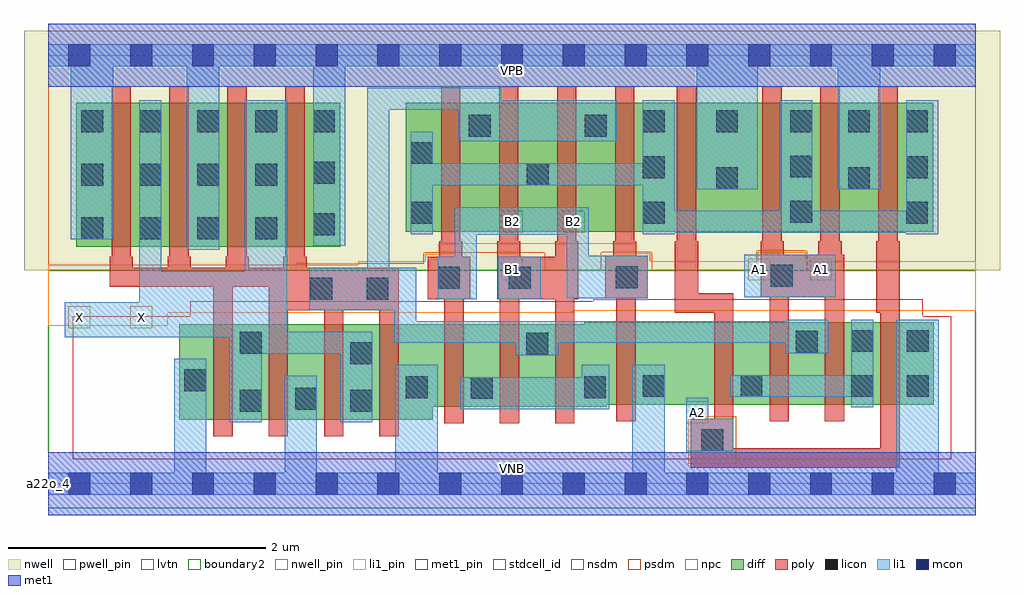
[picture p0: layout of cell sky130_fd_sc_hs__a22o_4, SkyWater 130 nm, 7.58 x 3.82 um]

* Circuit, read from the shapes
.subckt sky130_fd_sc_hs__a22o_4 A1 A2 B1 B2 VGND VNB VPB VPWR X
XM1 X n1 VGND VNB sky130_fd_pr__nfet_01v8_lvt w=0.74 l=0.15 m=4
XM2 n2 B2 VGND VNB sky130_fd_pr__nfet_01v8_lvt w=0.64 l=0.15 m=2
XM3 n1 B1 n2 VNB sky130_fd_pr__nfet_01v8_lvt w=0.64 l=0.15 m=2
XM4 n3 A2 VGND VNB sky130_fd_pr__nfet_01v8_lvt w=0.64 l=0.15 m=2
XM5 n1 A1 n3 VNB sky130_fd_pr__nfet_01v8_lvt w=0.64 l=0.15 m=2
XM6 X n1 VPWR VPB sky130_fd_pr__pfet_01v8 w=1.12 l=0.15 m=4
XM7 n1 B2 n4 VPB sky130_fd_pr__pfet_01v8 w=1 l=0.15 m=2
XM8 n4 B1 n1 VPB sky130_fd_pr__pfet_01v8 w=1 l=0.15 m=2
XM9 VPWR A2 n4 VPB sky130_fd_pr__pfet_01v8 w=1 l=0.15 m=2
XM10 n4 A1 VPWR VPB sky130_fd_pr__pfet_01v8 w=1 l=0.15 m=2
.ends

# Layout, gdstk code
import gdstk
lib = gdstk.Library(unit=1e-6, precision=1e-09)
def R(c, l, rs):  # rectangles x0, y0, x1, y1
    for r in rs: c.add(gdstk.rectangle(r[:2], r[2:], *l))
def A(c, l, x, y, w, h, nx, ny, dx, dy):  # array of equal rectangles
    R(c, l, [(x+i*dx, y+j*dy, x+i*dx+w, y+j*dy+h) for i in range(nx) for j in range(ny)])
def P(c, l, *ps):  # polygons
    for p in ps: c.add(gdstk.Polygon(p, *l))
nwell_pin = (64, 16)
nwell = (64, 20)
diff = (65, 20)
poly = (66, 20)
licon = (66, 44)
li1_pin = (67, 16)
li1 = (67, 20)
mcon = (67, 44)
met1_pin = (68, 16)
met1 = (68, 20)
stdcell_id = (81, 4)
nsdm = (93, 44)
psdm = (94, 20)
npc = (95, 20)
pwell_pin = (122, 16)
lvtn = (125, 44)
boundary2 = (236, 0)

sky130_fd_sc_hs__a22o_4 = lib.new_cell('sky130_fd_sc_hs__a22o_4')
R(sky130_fd_sc_hs__a22o_4, nwell_pin, [(0,3.085,7.2,3.33)])
R(sky130_fd_sc_hs__a22o_4, nwell, [(-0.19,1.66,7.39,3.52)])
R(sky130_fd_sc_hs__a22o_4, diff, [(0.215,1.84,2.265,2.96), (2.775,1.96,6.87,2.96)])
P(sky130_fd_sc_hs__a22o_4, diff, [(6.875,1.255),(4.16,1.255),(4.16,1.24),(1.015,1.24),(1.015,0.5),(2.985,0.5),(2.985,0.6),(4.335,0.6),(4.335,0.615),(6.875,0.615)])
P(sky130_fd_sc_hs__a22o_4, poly, [(6.61,1.885),(6.595,1.885),(6.595,3.09),(6.445,3.09),(6.445,1.885),(6.43,1.885),(6.43,1.33),(6.46,1.33),(6.46,0.275),(5.32,0.275),(5.32,1.48),(5.045,1.48),(5.045,1.885),(5.03,1.885),(5.03,3.09),(4.88,3.09),(4.88,1.885),(4.865,1.885),(4.865,1.33),(5.17,1.33),(5.17,0.505),(4.99,0.505),(4.99,0.125),(6.61,0.125)],
  [(6.18,1.78),(6.16,1.78),(6.16,1.885),(6.145,1.885),(6.145,3.09),(5.995,3.09),(5.995,1.885),(5.98,1.885),(5.98,1.78),(5.71,1.78),(5.71,1.885),(5.695,1.885),(5.695,3.09),(5.545,3.09),(5.545,1.885),(5.53,1.885),(5.53,1.45),(5.6,1.45),(5.6,0.485),(5.75,0.485),(5.75,1.45),(6.03,1.45),(6.03,0.485),(6.18,0.485)],
  [(4.655,1.77),(4.565,1.77),(4.565,1.885),(4.55,1.885),(4.55,3.09),(4.4,3.09),(4.4,1.885),(4.385,1.885),(4.385,1.77),(4.325,1.77),(4.325,1.44),(4.41,1.44),(4.41,0.485),(4.56,0.485),(4.56,1.44),(4.655,1.44)],
  [(4.115,1.885),(4.1,1.885),(4.1,3.09),(3.95,3.09),(3.95,1.885),(3.935,1.885),(3.935,1.765),(3.665,1.765),(3.665,1.885),(3.65,1.885),(3.65,3.09),(3.5,3.09),(3.5,1.885),(3.485,1.885),(3.485,1.435),(3.505,1.435),(3.505,0.47),(3.655,0.47),(3.655,1.435),(3.935,1.435),(3.935,0.47),(4.085,0.47),(4.085,1.435),(4.115,1.435)],
  [(3.275,1.765),(3.215,1.765),(3.215,1.885),(3.2,1.885),(3.2,3.09),(3.05,3.09),(3.05,1.885),(3.035,1.885),(3.035,1.765),(2.945,1.765),(2.945,1.435),(3.075,1.435),(3.075,0.47),(3.225,0.47),(3.225,1.435),(3.275,1.435)],
  [(2.72,1.68),(2.005,1.68),(2.005,1.765),(1.99,1.765),(1.99,3.09),(1.84,3.09),(1.84,1.765),(1.825,1.765),(1.825,1.68),(1.555,1.68),(1.555,1.765),(1.54,1.765),(1.54,3.09),(1.39,3.09),(1.39,1.765),(1.375,1.765),(1.375,1.68),(1.105,1.68),(1.105,1.765),(1.09,1.765),(1.09,3.09),(0.94,3.09),(0.94,1.765),(0.925,1.765),(0.925,1.68),(0.655,1.68),(0.655,1.765),(0.64,1.765),(0.64,3.09),(0.49,3.09),(0.49,1.765),(0.475,1.765),(0.475,1.53),(1.28,1.53),(1.28,0.37),(1.43,0.37),(1.43,1.53),(1.71,1.53),(1.71,0.37),(1.86,0.37),(1.86,1.35),(2.14,1.35),(2.14,0.37),(2.29,0.37),(2.29,1.35),(2.57,1.35),(2.57,0.37),(2.72,0.37)])
A(sky130_fd_sc_hs__a22o_4, licon, 0.255, 1.9, 0.17, 0.17, 4, 2, 0.45, 0.415)
A(sky130_fd_sc_hs__a22o_4, licon, 4.615, 2.02, 0.17, 0.17, 1, 3, 0, 0.355)
A(sky130_fd_sc_hs__a22o_4, licon, 0.255, 2.73, 0.17, 0.17, 5, 1, 0.45, 0)
A(sky130_fd_sc_hs__a22o_4, licon, 5.76, 2.73, 0.17, 0.17, 3, 1, 0.45, 0)
R(sky130_fd_sc_hs__a22o_4, licon, [(5.07,0.255,5.24,0.425), (1.485,0.56,1.655,0.73), (2.345,0.56,2.515,0.73), (1.915,0.575,2.085,0.745), (3.28,0.66,3.45,0.83), (2.775,0.665,2.945,0.835), (4.16,0.665,4.33,0.835), (4.615,0.675,4.785,0.845), (5.375,0.675,5.545,0.845), (6.235,0.675,6.405,0.845), (6.665,0.675,6.835,0.845), (1.055,0.72,1.225,0.89), (2.345,0.93,2.515,1.1), (3.71,1.005,3.88,1.175), (1.485,1.01,1.655,1.18), (5.805,1.02,5.975,1.19), (6.235,1.025,6.405,1.195), (6.665,1.025,6.835,1.195), (2.035,1.43,2.205,1.6), (2.47,1.43,2.64,1.6), (3.025,1.515,3.195,1.685), (3.575,1.515,3.745,1.685), (4.405,1.52,4.575,1.69), (5.61,1.53,5.78,1.7), (2.055,1.93,2.225,2.1), (2.815,2.02,2.985,2.19), (6.66,2.02,6.83,2.19), (5.76,2.03,5.93,2.2), (5.185,2.29,5.355,2.46), (6.21,2.29,6.38,2.46), (3.715,2.32,3.885,2.49), (2.055,2.33,2.225,2.5), (6.66,2.375,6.83,2.545), (5.76,2.38,5.93,2.55), (2.815,2.485,2.985,2.655), (3.265,2.695,3.435,2.865), (4.165,2.695,4.335,2.865), (5.185,2.73,5.355,2.9)])
R(sky130_fd_sc_hs__a22o_4, li1_pin, [(4.955,0.47,5.125,0.64), (0.155,1.21,0.325,1.38), (0.635,1.21,0.805,1.38), (3.515,1.58,3.685,1.75), (5.435,1.58,5.605,1.75), (5.915,1.58,6.085,1.75), (3.515,1.95,3.685,2.12), (3.995,1.95,4.165,2.12)])
R(sky130_fd_sc_hs__a22o_4, li1, [(3.495,1.435,3.825,1.765), (5.405,1.45,6.115,1.78)])
P(sky130_fd_sc_hs__a22o_4, li1, [(2.055,1.85),(2.055,3.245),(1.325,3.245),(1.325,1.82),(1.075,1.82),(1.075,3.245),(0.505,3.245),(0.505,1.9),(0.175,1.9),(0.175,3.245),(0,3.245),(0,3.415),(7.2,3.415),(7.2,3.245),(6.46,3.245),(6.46,2.29),(6.13,2.29),(6.13,3.245),(5.51,3.245),(5.51,2.29),(5.035,2.29),(5.035,3.245),(2.305,3.245),(2.305,1.85)],
  [(0.975,0.085),(0.975,0.97),(1.225,0.97),(1.225,0.085),(1.835,0.085),(1.835,0.84),(2.085,0.84),(2.085,0.085),(2.695,0.085),(2.695,0.925),(3.025,0.925),(3.025,0.085),(4.535,0.085),(4.535,0.925),(4.785,0.925),(4.785,0.085),(6.585,0.085),(6.585,1.275),(6.915,1.275),(6.915,0.085),(7.2,0.085),(7.2,-0.085),(0,-0.085),(0,0.085)],
  [(1.855,1.18),(2.515,1.18),(2.515,0.48),(2.265,0.48),(2.265,1.01),(1.655,1.01),(1.655,0.48),(1.405,0.48),(1.405,1.14),(0.125,1.14),(0.125,1.41),(0.705,1.41),(0.705,2.98),(0.875,2.98),(0.875,1.65),(1.525,1.65),(1.525,2.98),(1.855,2.98)],
  [(2.685,1.095),(2.685,1.35),(2.025,1.35),(2.025,1.68),(2.475,1.68),(2.475,3.075),(3.515,3.075),(3.515,2.98),(4.415,2.98),(4.415,2.66),(3.185,2.66),(3.185,2.905),(2.645,2.905),(2.645,1.68),(2.855,1.68),(2.855,1.265),(5.725,1.265),(5.725,1.275),(6.055,1.275),(6.055,1.015),(5.725,1.015),(5.725,1.095),(3.96,1.095),(3.96,1),(3.63,1),(3.63,1.095)],
  [(3.155,2.15),(4.195,2.15),(4.195,1.77),(4.655,1.77),(4.655,1.44),(4.025,1.44),(4.025,1.935),(3.325,1.935),(3.325,1.435),(3.025,1.435),(3.025,1.765),(3.155,1.765)],
  [(4.955,0.255),(4.955,0.67),(5.125,0.67),(5.125,0.505),(5.32,0.505),(5.32,0.255)],
  [(4.615,2.49),(4.615,2.98),(4.865,2.98),(4.865,2.12),(5.68,2.12),(5.68,2.98),(5.93,2.98),(5.93,2.12),(6.66,2.12),(6.66,2.98),(6.91,2.98),(6.91,1.94),(6.66,1.94),(6.66,1.95),(4.865,1.95),(4.865,1.94),(4.615,1.94),(4.615,2.32),(2.985,2.32),(2.985,1.94),(2.815,1.94),(2.815,2.735),(2.985,2.735),(2.985,2.49)],
  [(4.14,0.83),(4.14,0.925),(4.355,0.925),(4.355,0.58),(3.2,0.58),(3.2,0.83)],
  [(6.235,0.595),(6.235,0.675),(5.295,0.675),(5.295,0.845),(6.235,0.845),(6.235,1.275),(6.405,1.275),(6.405,0.595)])
A(sky130_fd_sc_hs__a22o_4, mcon, 0.155, -0.085, 0.17, 0.17, 15, 2, 0.48, 3.33)
R(sky130_fd_sc_hs__a22o_4, met1_pin, [(0,0,7.2,0.245), (0,3.085,7.2,3.33)])
R(sky130_fd_sc_hs__a22o_4, met1, [(0,-0.245,7.2,0.245), (0,3.085,7.2,3.575)])
R(sky130_fd_sc_hs__a22o_4, stdcell_id, [(0,0,7.2,3.33)])
R(sky130_fd_sc_hs__a22o_4, nsdm, [(0,-0.19,7.2,1.66)])
P(sky130_fd_sc_hs__a22o_4, psdm, [(7.2,3.52),(0,3.52),(0,1.66),(1.925,1.66),(1.925,1.71),(2.915,1.71),(2.915,1.795),(3.855,1.795),(3.855,1.66),(4.295,1.66),(4.295,1.8),(4.685,1.8),(4.685,1.66),(5.5,1.66),(5.5,1.81),(5.89,1.81),(5.89,1.66),(7.2,1.66)])
R(sky130_fd_sc_hs__a22o_4, npc, [(4.97,0.155,5.34,0.525)])
P(sky130_fd_sc_hs__a22o_4, npc, [(7.2,1.73),(5.88,1.73),(5.88,1.8),(5.51,1.8),(5.51,1.73),(4.675,1.73),(4.675,1.79),(4.57,1.79),(4.57,1.87),(3.03,1.87),(3.03,1.785),(2.925,1.785),(2.925,1.73),(2.405,1.73),(2.405,1.7),(0,1.7),(0,1.23),(0.925,1.23),(0.925,1.33),(4.07,1.33),(4.07,1.345),(7.2,1.345)])
R(sky130_fd_sc_hs__a22o_4, pwell_pin, [(0,0,7.2,0.245)])
P(sky130_fd_sc_hs__a22o_4, lvtn, [(7.01,1.3),(6.79,1.3),(6.79,1.435),(4.23,1.435),(4.23,1.42),(1.1,1.42),(1.1,1.3),(0.19,1.3),(0.19,0.19),(7.01,0.19)])
R(sky130_fd_sc_hs__a22o_4, boundary2, [(0,0,7.2,3.33)])
sky130_fd_sc_hs__a22o_4.add(gdstk.Label('a22o_4', (0,0), layer=83, texttype=44))
sky130_fd_sc_hs__a22o_4.add(gdstk.Label('VNB', (3.6,0.123), layer=64, texttype=59))
sky130_fd_sc_hs__a22o_4.add(gdstk.Label('VPB', (3.6,3.208), layer=64, texttype=5))
sky130_fd_sc_hs__a22o_4.add(gdstk.Label('VPWR', (3.6,3.208), layer=68, texttype=5))
sky130_fd_sc_hs__a22o_4.add(gdstk.Label('VGND', (3.6,0.123), layer=68, texttype=5))
sky130_fd_sc_hs__a22o_4.add(gdstk.Label('X', (0.24,1.295), layer=67, texttype=5))
sky130_fd_sc_hs__a22o_4.add(gdstk.Label('X', (0.72,1.295), layer=67, texttype=5))
sky130_fd_sc_hs__a22o_4.add(gdstk.Label('B2', (3.6,2.035), layer=67, texttype=5))
sky130_fd_sc_hs__a22o_4.add(gdstk.Label('B2', (4.08,2.035), layer=67, texttype=5))
sky130_fd_sc_hs__a22o_4.add(gdstk.Label('B1', (3.6,1.665), layer=67, texttype=5))
sky130_fd_sc_hs__a22o_4.add(gdstk.Label('A2', (5.04,0.555), layer=67, texttype=5))
sky130_fd_sc_hs__a22o_4.add(gdstk.Label('A1', (5.52,1.665), layer=67, texttype=5))
sky130_fd_sc_hs__a22o_4.add(gdstk.Label('A1', (6,1.665), layer=67, texttype=5))

lib.write_gds('sky130_fd_sc_hs__a22o_4.gds')
